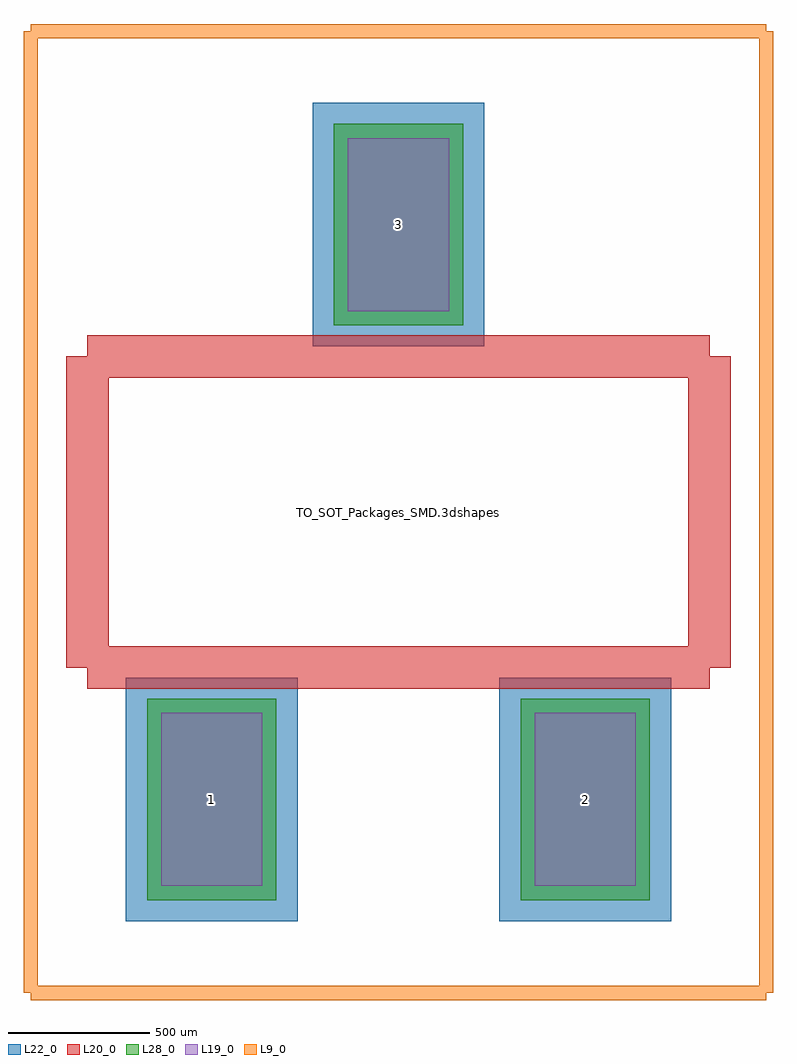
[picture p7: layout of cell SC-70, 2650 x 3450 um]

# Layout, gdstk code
import gdstk
lib = gdstk.Library(unit=1e-6, precision=1e-09)
def R(c, l, rs):  # rectangles x0, y0, x1, y1
    for r in rs: c.add(gdstk.rectangle(r[:2], r[2:], *l))
L9_0 = (9, 0)
L19_0 = (19, 0)
L20_0 = (20, 0)
L22_0 = (22, 0)
L28_0 = (28, 0)

sc_70 = lib.new_cell('SC-70')
R(sc_70, L19_0, [(-839,-1321.6,-481.8,-710.4), (481.8,-1321.6,839,-710.4), (-178.6,710.4,178.6,1321.6)])
R(sc_70, L22_0, [(-964,-1446.6,-356.8,-585.4), (356.8,-1446.6,964,-585.4), (-303.6,585.4,303.6,1446.6)])
R(sc_70, L28_0, [(-889,-1371.6,-431.8,-660.4), (431.8,-1371.6,889,-660.4), (-228.6,660.4,228.6,1371.6)])
sc_70.add(gdstk.FlexPath([(-1050,550),(-1100,550)], 149.998, ends="flush", simple_path=True, layer=20, datatype=0))  # L20_0
sc_70.add(gdstk.FlexPath([(1100,550),(-1050,550)], 149.998, ends="flush", simple_path=True, layer=20, datatype=0))  # L20_0
sc_70.add(gdstk.FlexPath([(1100,-550),(1100,550)], 149.998, ends="flush", simple_path=True, layer=20, datatype=0))  # L20_0
sc_70.add(gdstk.FlexPath([(-1100,-550),(1100,-550)], 149.998, ends="flush", simple_path=True, layer=20, datatype=0))  # L20_0
sc_70.add(gdstk.FlexPath([(-1100,550),(-1100,-550)], 149.998, ends="flush", simple_path=True, layer=20, datatype=0))  # L20_0
sc_70.add(gdstk.FlexPath([(1300,-1700),(-1300,-1700)], 50, ends="flush", simple_path=True, layer=9, datatype=0))  # L9_0
sc_70.add(gdstk.FlexPath([(-1300,-1700),(-1300,1700)], 50, ends="flush", simple_path=True, layer=9, datatype=0))  # L9_0
sc_70.add(gdstk.FlexPath([(-1300,1700),(1300,1700)], 50, ends="flush", simple_path=True, layer=9, datatype=0))  # L9_0
sc_70.add(gdstk.FlexPath([(1300,1700),(1300,-1700)], 50, ends="flush", simple_path=True, layer=9, datatype=0))  # L9_0
sc_70.add(gdstk.Label('TO_SOT_Packages_SMD.3dshapes/SC-70.wrl', (0,0), layer=12, texttype=0))
sc_70.add(gdstk.Label('3', (0,1016), layer=28, texttype=0))
sc_70.add(gdstk.Label('2', (660.4,-1016), layer=28, texttype=0))
sc_70.add(gdstk.Label('1', (-660.4,-1016), layer=28, texttype=0))
sc_70.add(gdstk.Label('type', (0,-2400), layer=9, texttype=0))
sc_70.add(gdstk.Label('devicename', (0,2200), layer=9, texttype=0))

lib.write_gds('SC-70.gds')
